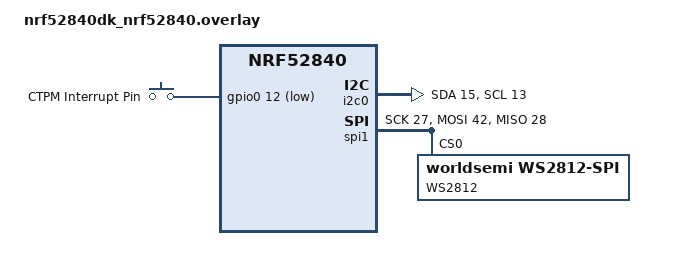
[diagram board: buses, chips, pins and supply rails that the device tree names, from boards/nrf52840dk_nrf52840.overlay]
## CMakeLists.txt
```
cmake_minimum_required(VERSION 3.13.1)
find_package(Zephyr REQUIRED HINTS $ENV{ZEPHYR_BASE})
project(project-ariana-central)

FILE(GLOB app_sources src/*.c)
include_directories(include)
target_sources(app PRIVATE ${app_sources})

zephyr_library_include_directories(${ZEPHYR_BASE}/samples/bluetooth)
```

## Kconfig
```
# Copyright (c) 2019 Nordic Semiconductor ASA
# SPDX-License-Identifier: Apache-2.0

# Use the SPI driver by default, unless the GPIO driver is
# specifically configured in.
config SPI
	default y

source "Kconfig.zephyr"
```

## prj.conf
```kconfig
CONFIG_BT=y
CONFIG_BT_MAX_CONN=10
CONFIG_BT_BROADCASTER=y
CONFIG_BT_DEVICE_NAME="ariana-central"

CONFIG_STDOUT_CONSOLE=y
CONFIG_PRINTK=y
CONFIG_LOG=y
CONFIG_LOG_PRINTK=y
CONFIG_LOG_STRDUP_BUF_COUNT=16

CONFIG_I2C=y
CONFIG_I2C_NRFX=y
CONFIG_NRFX_TWI=y
CONFIG_NRFX_TWI0=y
CONFIG_GPIO=y

CONFIG_NEWLIB_LIBC=y 
CONFIG_REBOOT=y

CONFIG_LED_STRIP=y
CONFIG_LED_STRIP_LOG_LEVEL_DBG=y
CONFIG_WS2812_STRIP=y
```

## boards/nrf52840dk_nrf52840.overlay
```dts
#include "../nrf-bindings.h"
#include <dt-bindings/led/led.h>

&qspi {
	status = "disabled";
};

&i2c1 {
	status = "disabled";
};

/ {
	ctpm {
		compatible = "gpio-keys";
		ctpmint: ctpm_int {
				gpios = <&gpio0 12 (GPIO_PULL_UP | GPIO_ACTIVE_LOW)>;
				label = "CTPM Interrupt Pin";
		};
	};

	aliases {
		led-strip = &led_strip;
	};
};

&i2c0 {
	compatible = "nordic,nrf-twi";
	status = "okay";
	sda-pin = <15>;
	scl-pin = <13>;
};

&spi1 { /* LED data pin uses mosi */
	compatible = "nordic,nrf-spim";
	status = "okay";
	mosi-pin = <42>;
	miso-pin = <28>;
	sck-pin = <27>;
	led_strip: ws2812@0 {
		compatible = "worldsemi,ws2812-spi";
		label = "WS2812";

		reg = <0>; /* ignored, but necessary for SPI bindings */
		spi-max-frequency = <SPI_FREQ>;
		
		chain-length = <10>;
		color-mapping = <LED_COLOR_ID_GREEN LED_COLOR_ID_RED LED_COLOR_ID_BLUE>;
		spi-one-frame = <ONE_FRAME>;
		spi-zero-frame = <ZERO_FRAME>;
	};
};
```

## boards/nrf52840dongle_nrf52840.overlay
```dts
#include "../nrf-bindings.h"
#include <dt-bindings/led/led.h>

&qspi {
	status = "disabled";
};

&i2c1 {
	status = "disabled";
};

/ {
	ctpm {
		compatible = "gpio-keys";
		ctpmint: ctpm_int {
				gpios = <&gpio0 31 (GPIO_PULL_UP | GPIO_ACTIVE_LOW)>;
				label = "CTPM Interrupt Pin";
		};
	};

	aliases {
		led-strip = &led_strip;
	};
};

&pinctrl {
	i2c0_default: i2c0_default {
	   group1 {
		  psels = <NRF_PSEL(TWIM_SDA, 0, 15)>,
				<NRF_PSEL(TWIM_SCL, 0, 13)>;
	   };
	};
	spi1_default: spi1_default {
		group1 {
			psels = <NRF_PSEL(SPIM_MOSI, 0, 42)>,
				<NRF_PSEL(SPIM_MISO, 0, 28)>,
				<NRF_PSEL(SPIM_SCK, 0, 27)>;
		};
	};
 };
 

&i2c0 {
	compatible = "nordic,nrf-twi";
	status = "okay";
	pinctrl-0 = <&i2c0_default>;
	clock-frequency = <100000>;
};

&spi1 { /* LED data pin uses mosi */
	compatible = "nordic,nrf-spim";
	status = "okay";
	pinctrl-0 = <&spi1_default>;
	led_strip: ws2812@0 {
		compatible = "worldsemi,ws2812-spi";
		label = "WS2812";

		reg = <0>; /* ignored, but necessary for SPI bindings */
		spi-max-frequency = <SPI_FREQ>;
		
		chain-length = <24>;
		color-mapping = <LED_COLOR_ID_GREEN LED_COLOR_ID_RED LED_COLOR_ID_BLUE>;
		spi-one-frame = <ONE_FRAME>;
		spi-zero-frame = <ZERO_FRAME>;
	};
};
```

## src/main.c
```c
#include "main.h"
#include "ft5xx6.h"

#define LOG_LEVEL 3
LOG_MODULE_REGISTER(main);
#define SLEEP_TIME_MS 10

// Logic variables and functions
static uint8_t brightness_value = 0;
static uint8_t ww_value = 0;
static uint8_t cw_value = 0;
static uint8_t color[2] = {0, 0};
static uint8_t calculate_brightness(int x, int y);
static void calculate_color(int x, int y, uint8_t *color);

// Config and functions for CTPM
#define I2C DT_NODELABEL(i2c0)
#define INT_PIN DT_NODELABEL(ctpmint)
static const struct gpio_dt_spec ctpm_int = GPIO_DT_SPEC_GET(INT_PIN, gpios);
static struct gpio_callback ctpm_int_cb_data;
static bool ctpm_event_flag = false;
static struct point coordinates = {.x = 0, .y = 0};
static const struct device *ctpm_dev;
void on_interrupt_received(const struct device *dev, struct gpio_callback *cb, uint32_t pins) {
    ctpm_event_flag = true;
}

// LED Animation functions
void fadeToBlack(int ledNo, double fadeValue);
void meteorRain(struct led_rgb meteorColor, int meteorSize);
void softblink();
struct led_rgb meteor_color = RGB(0x70, 0x80, 0xa0);

void animationLoop0() {
    while (1) {
        meteorRain(meteor_color, 1);
    }
}

void animationLoop1() {
    while (1) {
        for (int i = 0; i < STRIP_NUM_PIXELS; i++) {
            for (int j = 0; j < STRIP_NUM_PIXELS; j++) {
                if (rand() % 2) {
                    if (rand() % 2) {
                        fadeToBlack(j, 8);
                    }
                }
            }
            led_strip_update_rgb(strip, pixels, STRIP_NUM_PIXELS);
            k_msleep(20);
        }
    }
}

// K_THREAD_DEFINE(animation0, 2048, animationLoop0, NULL, NULL, NULL, 8, 0, 0);
// K_THREAD_DEFINE(animation1, 2048, animationLoop1, NULL, NULL, NULL, 9, 0, 0);

// BLE advertising data
uint8_t ww_data[] = {0x68, 0x68, 0x09};
uint8_t cw_data[] = {0x69, 0x69, 0x05};
static const struct bt_data ad[] = {
    BT_DATA(BT_DATA_SVC_DATA16, ww_data, 3),
    BT_DATA(BT_DATA_SVC_DATA16, cw_data, 3),
};

// Main loop
void main(void) {
    int err;

    if (device_is_ready(strip)) {
        LOG_INF("Found LED strip device %s", strip->name);
    } else {
        LOG_ERR("LED strip device %s is not ready", strip->name);
        return;
    }

    /* Initialize BLE */
    err = bt_enable(NULL);
    if (err) {
        LOG_ERR("Bluetooth init failed (err %d)\n", err);
        return;
    }
    LOG_INF("Bluetooth initialized");

    /* Initialize CTPM */
    ctpm_dev = device_get_binding(DT_LABEL(I2C));
    ft5xx6_init(ctpm_dev, ctpm_int);

    /* Register Callbacks */
    gpio_init_callback(&ctpm_int_cb_data, on_interrupt_received, BIT(ctpm_int.pin));
    gpio_add_callback(ctpm_int.port, &ctpm_int_cb_data);
    LOG_INF("Set up Interrupt at %s pin %d\n", ctpm_int.port->name, ctpm_int.pin);

    struct ft5xx6_info tpcm_info = ft5xx6_get_info(ctpm_dev);
    LOG_INF("FT5436 Chip ID Version: %d", tpcm_info.chip_id);
    LOG_INF("FT5436 Chip Device Mode: %d", tpcm_info.device_mode);
    LOG_INF("FT5436 Chip Firmware Version: %d", tpcm_info.firmware_version);
    LOG_INF("FT5436 Chip Run State: %d", tpcm_info.run_state);
    LOG_INF("FT5436 Chip Firmware ID: %d", tpcm_info.firmware_id);

    k_sleep(K_SECONDS(5));

    err = bt_le_adv_start(BT_LE_ADV_NCONN_NAME, ad, ARRAY_SIZE(ad), NULL, 0);

    if (err) {
        printk("Advertising failed to start (err %d)\n", err);
        return;
    }

    while (1) {
        if (ctpm_event_flag) {
            coordinates = ft_5xx6_get_coordinates(ctpm_dev);
            brightness_value = calculate_brightness(coordinates.x, coordinates.y);
            calculate_color(coordinates.x - 255, coordinates.y - 255, color);
            ww_value = color[0] * ((float)brightness_value / 255);
            cw_value = color[1] * ((float)brightness_value / 255);

            if (ww_value < 80) {
                ww_value = 0;
            }
            if (cw_value < 80) {
                cw_value = 0;
            }
            LOG_DBG("Coordinates: x %d \t y %d", coordinates.x, coordinates.y);
            LOG_DBG("Brightness: %d", brightness_value);
            LOG_DBG("White colors: WW %d, CW %d", ww_value, cw_value);

            ctpm_event_flag = false;

            ww_data[2] = ww_value;
            cw_data[2] = cw_value;

            softblink();
        }

        err = bt_le_adv_update_data(ad, ARRAY_SIZE(ad), NULL, 0);
        if (err) {
            printk("Advertising failed to update (err %d)\n", err);
            return;
        }
        k_msleep(SLEEP_TIME_MS);
    }
}

// Brightnes logic: center of touchpad = lowest, outside of touchpad = highest
static uint8_t calculate_brightness(int x, int y) {
    uint8_t r = 0;
    x -= 255;
    y -= 255;
    r = sqrt(x * x + y * y);
    return r;
}

// White temperature logic: Top = cold white, Bottom = warm white
static void calculate_color(int x, int y, uint8_t *color) {
    double theta = 0;

    if (x >= 0) {
        // First quadrant
        if (y >= 0) {
            theta = atan2(y, x);
            color[0] = 255 - (255 * (theta / M_PI_2));
            color[1] = 255;
        }
        // Second quadrant
        else if (y < 0) {
            theta = -atan2(y, x);
            color[0] = 255;
            color[1] = 255 - (255 * (theta / M_PI_2));
        }
    } else {
        // Third quadrant
        if (y < 0) {
            theta = -atan2(y, -x);
            color[0] = 255;
            color[1] = 255 - (255 * (theta / M_PI_2));
        }
        // Fourth quadrant
        else if (y >= 0) {
            theta = atan2(y, -x);
            color[0] = 255 - (255 * (theta / M_PI_2));
            color[1] = 255;
        }
    }
}

// Fade out
void fadeToBlack(int ledNo, double fadeValue) {
    struct led_rgb oldColor = pixels[ledNo];
    uint8_t r, g, b;

    r = oldColor.r;
    g = oldColor.g;
    b = oldColor.b;

    oldColor.r = (r <= 10) ? 0 : (int)r - (int)ceil(((double)r * fadeValue / 256));
    oldColor.g = (g <= 10) ? 0 : (int)g - (int)ceil(((double)g * fadeValue / 256));
    oldColor.b = (b <= 10) ? 0 : (int)b - (int)ceil(((double)b * fadeValue / 256));

    memcpy(&pixels[ledNo], &oldColor, sizeof(struct led_rgb));
}

void softblink() {
    struct led_rgb blink_color = RGB(0x00, 0x00, 0x00);
    memset(&pixels, 0x00, sizeof(pixels));

    for (int i = 0; i < 80; i++) {
        blink_color.r = i*2;
        blink_color.b = i*2;
        blink_color.b = i*2;

        for (int j = 0; j < STRIP_NUM_PIXELS; j++) {
            memcpy(&pixels[j], &blink_color, sizeof(struct led_rgb));
        }
        led_strip_update_rgb(strip, pixels, STRIP_NUM_PIXELS);
        k_msleep(1);
    }

    for (int i = 80; i > 0 ; i--) {
        blink_color.r = i*2;
        blink_color.b = i*2;
        blink_color.b= i*2;
        for (int j = 0; j < STRIP_NUM_PIXELS; j++) {
            memcpy(&pixels[j], &blink_color, sizeof(struct led_rgb));
        }
        led_strip_update_rgb(strip, pixels, STRIP_NUM_PIXELS);
        k_msleep(1);
    }
}

// Draw meteor
void meteorRain(struct led_rgb meteorColor, int meteorSize) {
    memset(&pixels, 0x00, sizeof(pixels));

    for (int i = 0; i < STRIP_NUM_PIXELS + STRIP_NUM_PIXELS / 2; i++) {
        for (int j = 0; j < meteorSize; j++) {
            if ((i - j < STRIP_NUM_PIXELS) && (i - j >= 0)) {
                memcpy(&pixels[i - j], &meteorColor, sizeof(struct led_rgb));
            }
        }
        led_strip_update_rgb(strip, pixels, STRIP_NUM_PIXELS);
        k_msleep(1200);
    }
}
```

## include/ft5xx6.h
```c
/**
 * @file
 * @brief Driver for Focaltech FT5xx6 CTPMs
 * @author Bigbear (Shiyue Liu)
 */

#ifndef __FT5XX6_H__
#define __FT5XX6_H__

#include <device.h>
#include <zephyr/types.h>
#include <drivers/i2c.h>
#include <drivers/gpio.h>
#include <sys/printk.h>

#ifdef __cplusplus
extern "C" {
#endif

#define FT5XX6_I2C_ADDRESS 0x38

#define FT5XX6_DEV_MODE_REGISTER 0x00
#define FT5XX6_GESTURE_REGISTER 0x01
#define FT5XX6_TOUCHX_STATUS_REGISTER 0x03
#define FT5XX6_TOUCHY_STATUS_REGISTER 0x05
#define FT5XX6_TOUCH_WEIGHT_REGISTER 0x08
#define FT5XX6_LEFT_RIGHT_OFFSET_REGISTER 0x94
#define FT5XX6_UP_DOWN_OFFSET_REGISTER 0x95
#define FT5XX6_MAX_XRES_REGISTER 0x98
#define FT5XX6_MAX_YRES_REGISTER 0x9A

#define FT5XX6_FIRMWARE_VERSION_REGISTER 0xA1
#define FT5XX6_CHIP_ID_REGISTER 0xA3
#define FT5XX6_FIRMWARE_ID_REGISTER 0xA6
#define FT5XX6_POWER_MODE_REGISTER 0xA6
#define FT5XX6_RUN_STATE_REGISTER 0xA7
#define FT5XX6_ERROR_REGISTER 0xA9

#define FT5XX6_CODE_OK 0x00

typedef enum { START = 0, END = 1, TOUCH = 2 } EventFlag;

struct point {
    uint16_t x;
    uint16_t y;
    EventFlag event;
};

typedef enum {
    CONFIGURE = 0,
    WORK = 1,
    CALIBRATION = 2,
    FACTORY = 3,
    AUTO_CALIBRATION = 4
} RunState;

typedef enum { ACTIVE = 0, MONITOR = 1, HIBERNATE = 3 } PowerMode;

typedef enum { OP = 0, SYS_INFO = 1, TEST = 4, TEST1 = 5 } DeviceMode;

struct ft5xx6_info {
    uint8_t firmware_id;
    uint16_t firmware_version;
    uint8_t chip_id;
    uint8_t error_code;
    PowerMode power_mode;
    RunState run_state;
    DeviceMode device_mode;
};

int ft5xx6_init(const struct device *i2cdev, const struct gpio_dt_spec gpiodev) {
    /* I2C checks and initializations */
    if (i2cdev == NULL) {
        printk("I2C: Device driver not found\n");
        return -1;
    }

    i2c_configure(i2cdev, I2C_SPEED_SET(I2C_SPEED_FAST));

    /* Interrupt pin checks and initializations */
    if (!device_is_ready(gpiodev.port)) {
        printk("Error: CTPM Interrupt pin %s is not ready\n", gpiodev.port->name);
        return -2;
    }

    // Configure Pins
    int ret = gpio_pin_configure_dt(&gpiodev, GPIO_INPUT);
    if (ret != 0) {
        printk("Error %d: failed to configure %s pin %d\n", ret, gpiodev.port->name, gpiodev.pin);
        return ret;
    }

    ret = gpio_pin_interrupt_configure_dt(&gpiodev, GPIO_INT_EDGE_TO_ACTIVE);
    if (ret != 0) {
        printk("Error %d: failed to configure interrupt on %s pin %d\n", ret, gpiodev.port->name,
               gpiodev.pin);
        return ret;
    }

    return 0;
}

int ft5xx6_read_reg(const struct device *i2cdev, int data_register) {
    uint8_t data[1];
    int ret = i2c_reg_read_byte(i2cdev, FT5XX6_I2C_ADDRESS, data_register, data);
    if (ret) {
        printk("Error reading from Touch Panel! error code (%d)\n", ret);
        return -1;
    }
    return data[0];
}

struct ft5xx6_info ft5xx6_get_info(const struct device *i2cdev) {
    struct ft5xx6_info info;
    // Chip ID
    info.chip_id = ft5xx6_read_reg(i2cdev, FT5XX6_CHIP_ID_REGISTER);
    // Firmware ID
    info.firmware_id = ft5xx6_read_reg(i2cdev, FT5XX6_FIRMWARE_ID_REGISTER);
    // Firmware version
    int firmware_version_msb = ft5xx6_read_reg(i2cdev, FT5XX6_CHIP_ID_REGISTER);
    int firmware_version_lsb = ft5xx6_read_reg(i2cdev, FT5XX6_CHIP_ID_REGISTER + 1);
    info.firmware_version = ((uint16_t)firmware_version_msb << 8) + (uint16_t)firmware_version_lsb;
    // Power mode
    info.power_mode = ft5xx6_read_reg(i2cdev, FT5XX6_POWER_MODE_REGISTER);
    // Run state
    info.run_state = ft5xx6_read_reg(i2cdev, FT5XX6_RUN_STATE_REGISTER);
    // Error code
    info.error_code = ft5xx6_read_reg(i2cdev, FT5XX6_ERROR_REGISTER);
    // Device mode
    int device_mode_raw = ft5xx6_read_reg(i2cdev, FT5XX6_DEV_MODE_REGISTER);
    uint8_t device_mode = (device_mode_raw & 0x70) >> 4;
    info.device_mode = device_mode;

    return info;
}

struct point ft_5xx6_get_coordinates(const struct device *i2cdev) {
    struct point coords;
    uint8_t buffer[4];
    buffer[0] = ft5xx6_read_reg(i2cdev, FT5XX6_TOUCHX_STATUS_REGISTER);
    buffer[1] = ft5xx6_read_reg(i2cdev, FT5XX6_TOUCHX_STATUS_REGISTER + 1);
    buffer[2] = ft5xx6_read_reg(i2cdev, FT5XX6_TOUCHY_STATUS_REGISTER);
    buffer[3] = ft5xx6_read_reg(i2cdev, FT5XX6_TOUCHY_STATUS_REGISTER + 1);

    coords.x = (((uint16_t)buffer[0] & 0b00001111) << 8) | (uint16_t)buffer[1];
    coords.y = (((uint16_t)buffer[2] & 0b00001111) << 8) | (uint16_t)buffer[3];
    coords.event = 2;

    return coords;
}

#ifdef __cplusplus
}
#endif

#endif
```

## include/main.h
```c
#pragma once

#include <zephyr/types.h>
#include <stddef.h>
#include <string.h>
#include <errno.h>
#include <zephyr.h>
#include <device.h>
#include <logging/log.h>
#include <math.h>
#include <device.h>
#include <stdlib.h>

#include <sys/util.h>
#include <sys/reboot.h>
#include <drivers/i2c.h>
#include <drivers/gpio.h>
#include <drivers/spi.h>
#include <drivers/led_strip.h>

#include <bluetooth/bluetooth.h>
#include <bluetooth/hci.h>
#include <bluetooth/conn.h>
#include <bluetooth/uuid.h>
#include <bluetooth/gatt.h>
#include <sys/byteorder.h>

#define SCAN_INTERVAL 0x0140 /* 200 ms */
#define SCAN_WINDOW 0x0030   /* 30 ms */
#define INIT_INTERVAL 0x0010 /* 10 ms */
#define INIT_WINDOW 0x0010   /* 10 ms */
#define CONN_INTERVAL 0x00A0 /* 200 ms */
#define CONN_LATENCY 0
#define CONN_TIMEOUT MIN(MAX((CONN_INTERVAL * 125 * MAX(CONFIG_BT_MAX_CONN, 6) / 1000), 10), 3200)

#define M_PI_2 1.57079632679489661923

// Pixels
#define STRIP_NODE DT_ALIAS(led_strip)
#define STRIP_NUM_PIXELS DT_PROP(DT_ALIAS(led_strip), chain_length)
static const struct device *strip = DEVICE_DT_GET(STRIP_NODE);
struct led_rgb pixels[STRIP_NUM_PIXELS];

#define RGB(_r, _g, _b) { .r = (_r), .g = (_g), .b = (_b) }
```
